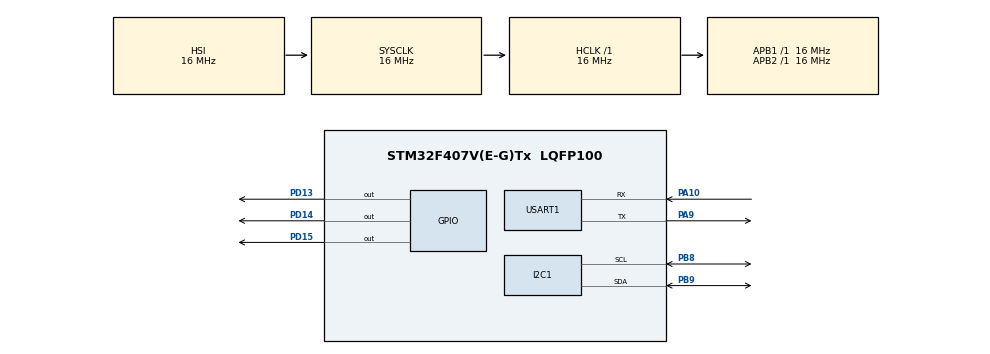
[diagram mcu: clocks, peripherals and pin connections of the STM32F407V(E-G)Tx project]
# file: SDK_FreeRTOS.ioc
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FREERTOS.Queues01=myQueue01,16,uint16_t,0,Dynamic,NULL,NULL
FREERTOS.Tasks01=Task_LED1,0,128,StartTaskLED1,Default,NULL,Dynamic,NULL,NULL;Task_UART,0,128,StartTaskUART,Default,NULL,Dynamic,NULL,NULL;Task_LED2,0,128,StartTasLED2,Default,NULL,Dynamic,NULL,NULL
FREERTOS.configENABLE_BACKWARD_COMPATIBILITY=0
FREERTOS.configGENERATE_RUN_TIME_STATS=1
FREERTOS.configUSE_STATS_FORMATTING_FUNCTIONS=1
FREERTOS.configUSE_TRACE_FACILITY=1
Mcu.Family=STM32F4
Mcu.Name=STM32F407V(E-G)Tx
Mcu.Package=LQFP100
NVIC.PriorityGroup=NVIC_PRIORITYGROUP_4
NVIC.TIM1_UP_TIM10_IRQn=true\:0\:0\:false\:false\:true\:false\:false\:true\:true
NVIC.TimeBase=TIM1_UP_TIM10_IRQn
NVIC.TimeBaseIP=TIM1
PA10.Mode=Asynchronous
PA10.Signal=USART1_RX
PA13.Mode=JTAG_5_pins
PA13.Signal=SYS_JTMS-SWDIO
PA14.Mode=JTAG_5_pins
PA14.Signal=SYS_JTCK-SWCLK
PA15.Mode=JTAG_5_pins
PA15.Signal=SYS_JTDI
PA9.Mode=Asynchronous
PA9.Signal=USART1_TX
PB3.Mode=JTAG_5_pins
PB3.Signal=SYS_JTDO-SWO
PB4.Mode=JTAG_5_pins
PB4.Signal=SYS_JTRST
PB8.Mode=I2C
PB8.Signal=I2C1_SCL
PB9.Mode=I2C
PB9.Signal=I2C1_SDA
PD13.Signal=GPIO_Output
PD14.Signal=GPIO_Output
PD15.Signal=GPIO_Output
PH0-OSC_IN.Mode=HSE-External-Oscillator
PH0-OSC_IN.Signal=RCC_OSC_IN
PH1-OSC_OUT.Mode=HSE-External-Oscillator
PH1-OSC_OUT.Signal=RCC_OSC_OUT
ProjectManager.HeapSize=0x200
ProjectManager.StackSize=0x400
ProjectManager.TargetToolchain=STM32CubeIDE
RCC.AHBFreq_Value=16000000
RCC.APB1Freq_Value=16000000
RCC.APB2Freq_Value=16000000
RCC.CortexFreq_Value=16000000
RCC.HSE_VALUE=25000000
RCC.HSI_VALUE=16000000
RCC.LSE_VALUE=32768
RCC.SYSCLKFreq_VALUE=16000000
RCC.VCOOutputFreq_Value=192000000
USART1.VirtualMode=VM_ASYNC
VP_FREERTOS_VS_CMSIS_V1.Mode=CMSIS_V1
VP_SYS_VS_tim1.Mode=TIM1
board=custom

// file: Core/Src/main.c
/* USER CODE BEGIN Header */
/**
  ******************************************************************************
  * @file           : main.c
  * @brief          : Main program body
  ******************************************************************************
  * This notice applies to any and all portions of this file
  * that are not between comment pairs USER CODE BEGIN and
  * USER CODE END. Other portions of this file, whether
  * inserted by the user or by software development tools
  * are owned by their respective copyright owners.
  *
  * Copyright (c) 2019 STMicroelectronics International N.V.
  * All rights reserved.
  *
  * Redistribution and use in source and binary forms, with or without
  * modification, are permitted, provided that the following conditions are met:
  *
  * 1. Redistribution of source code must retain the above copyright notice,
  *    this list of conditions and the following disclaimer.
  * 2. Redistributions in binary form must reproduce the above copyright notice,
  *    this list of conditions and the following disclaimer in the documentation
  *    and/or other materials provided with the distribution.
  * 3. Neither the name of STMicroelectronics nor the names of other
  *    contributors to this software may be used to endorse or promote products
  *    derived from this software without specific written permission.
  * 4. This software, including modifications and/or derivative works of this
  *    software, must execute solely and exclusively on microcontroller or
  *    microprocessor devices manufactured by or for STMicroelectronics.
  * 5. Redistribution and use of this software other than as permitted under
  *    this license is void and will automatically terminate your rights under
  *    this license.
  *
  * THIS SOFTWARE IS PROVIDED BY STMICROELECTRONICS AND CONTRIBUTORS "AS IS"
  * AND ANY EXPRESS, IMPLIED OR STATUTORY WARRANTIES, INCLUDING, BUT NOT
  * LIMITED TO, THE IMPLIED WARRANTIES OF MERCHANTABILITY, FITNESS FOR A
  * PARTICULAR PURPOSE AND NON-INFRINGEMENT OF THIRD PARTY INTELLECTUAL PROPERTY
  * RIGHTS ARE DISCLAIMED TO THE FULLEST EXTENT PERMITTED BY LAW. IN NO EVENT
  * SHALL STMICROELECTRONICS OR CONTRIBUTORS BE LIABLE FOR ANY DIRECT, INDIRECT,
  * INCIDENTAL, SPECIAL, EXEMPLARY, OR CONSEQUENTIAL DAMAGES (INCLUDING, BUT NOT
  * LIMITED TO, PROCUREMENT OF SUBSTITUTE GOODS OR SERVICES; LOSS OF USE, DATA,
  * OR PROFITS; OR BUSINESS INTERRUPTION) HOWEVER CAUSED AND ON ANY THEORY OF
  * LIABILITY, WHETHER IN CONTRACT, STRICT LIABILITY, OR TORT (INCLUDING
  * NEGLIGENCE OR OTHERWISE) ARISING IN ANY WAY OUT OF THE USE OF THIS SOFTWARE,
  * EVEN IF ADVISED OF THE POSSIBILITY OF SUCH DAMAGE.
  *
  ******************************************************************************
  */
/* USER CODE END Header */
#include "main.h"
#include "cmsis_os.h"
#include "i2c.h"
#include "usart.h"
#include "gpio.h"

/* USER CODE BEGIN Includes */
#include "controller.h"
#include "game.h"
#include "handlers.h"
/* USER CODE END Includes */

void SystemClock_Config(void);
void MX_FREERTOS_Init(void);
/* USER CODE BEGIN PFP */
int initSnakeGame(void);

/* USER CODE END PFP */

int main(void)
{

  /* MCU Configuration--------------------------------------------------------*/

  /* Reset of all peripherals, Initializes the Flash interface and the Systick. */
  HAL_Init();

  /* Configure the system clock */
  SystemClock_Config();

  /* Initialize all configured peripherals */
  MX_GPIO_Init();
  MX_USART1_UART_Init();
  MX_I2C1_Init();
  /* USER CODE BEGIN 2 */

  initSnakeGame();
  /* USER CODE END 2 */

  /* Call init function for freertos objects (in freertos.c) */
  MX_FREERTOS_Init();

  /* Start scheduler */
  osKernelStart();
  /* We should never get here as control is now taken by the scheduler */
  /* Infinite loop */
  while (1)
  {

  }
}

void SystemClock_Config(void)
{
  RCC_OscInitTypeDef RCC_OscInitStruct = {0};
  RCC_ClkInitTypeDef RCC_ClkInitStruct = {0};

  /** Configure the main internal regulator output voltage
  */
  __HAL_RCC_PWR_CLK_ENABLE();
  __HAL_PWR_VOLTAGESCALING_CONFIG(PWR_REGULATOR_VOLTAGE_SCALE1);

  /** Initializes the RCC Oscillators according to the specified parameters
  * in the RCC_OscInitTypeDef structure.
  */
  RCC_OscInitStruct.OscillatorType = RCC_OSCILLATORTYPE_HSI;
  RCC_OscInitStruct.HSIState = RCC_HSI_ON;
  RCC_OscInitStruct.HSICalibrationValue = RCC_HSICALIBRATION_DEFAULT;
  RCC_OscInitStruct.PLL.PLLState = RCC_PLL_NONE;
  if (HAL_RCC_OscConfig(&RCC_OscInitStruct) != HAL_OK)
  {
    Error_Handler();
  }

  /** Initializes the CPU, AHB and APB buses clocks
  */
  RCC_ClkInitStruct.ClockType = RCC_CLOCKTYPE_HCLK|RCC_CLOCKTYPE_SYSCLK
                              |RCC_CLOCKTYPE_PCLK1|RCC_CLOCKTYPE_PCLK2;
  RCC_ClkInitStruct.SYSCLKSource = RCC_SYSCLKSOURCE_HSI;
  RCC_ClkInitStruct.AHBCLKDivider = RCC_SYSCLK_DIV1;
  RCC_ClkInitStruct.APB1CLKDivider = RCC_HCLK_DIV1;
  RCC_ClkInitStruct.APB2CLKDivider = RCC_HCLK_DIV1;

  if (HAL_RCC_ClockConfig(&RCC_ClkInitStruct, FLASH_LATENCY_0) != HAL_OK)
  {
    Error_Handler();
  }
}

/* USER CODE BEGIN 4 */
int initSnakeGame(void) {
    initController();

    // init button handlers
    struct HandlerInfo btnUp = {buttonPressHandler, {.direction = DIR_UP}};
    struct HandlerInfo btnDown = {buttonPressHandler, {.direction = DIR_DOWN}};
    struct HandlerInfo btnLeft = {buttonPressHandler, {.direction = DIR_LEFT}};
    struct HandlerInfo btnRight = {buttonPressHandler,
                                   {.direction = DIR_RIGHT}};
    struct HandlerInfo btnCenter = {buttonPressHandler,
                                    {.direction = DIR_CENTER}};

    setHandler(BUTTON_UP, btnUp);
    setHandler(BUTTON_DOWN, btnDown);
    setHandler(BUTTON_LEFT, btnLeft);
    setHandler(BUTTON_RIGHT, btnRight);
    setHandler(BUTTON_CENTER, btnCenter);

    // start listening in a new thread
    // struct cthreads_thread thread1;
    // struct cthreads_args thread1Args;
    // cthreads_thread_create(&thread1, NULL, listenerThread, NULL, &thread1Args);

    // // run the game in the current thread
    // startGame();

    // cthreads_thread_join(thread1, NULL);

    return 0;
}
/* USER CODE END 4 */

void HAL_TIM_PeriodElapsedCallback(TIM_HandleTypeDef *htim)
{
  if (htim->Instance == TIM1) {
    HAL_IncTick();
  }
}

void Error_Handler(void)
{
}

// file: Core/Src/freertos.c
/* USER CODE BEGIN Header */
/**
  ******************************************************************************
  * File Name          : freertos.c
  * Description        : Code for freertos applications
  ******************************************************************************
  * This notice applies to any and all portions of this file
  * that are not between comment pairs USER CODE BEGIN and
  * USER CODE END. Other portions of this file, whether
  * inserted by the user or by software development tools
  * are owned by their respective copyright owners.
  *
  * Copyright (c) 2019 STMicroelectronics International N.V.
  * All rights reserved.
  *
  * Redistribution and use in source and binary forms, with or without
  * modification, are permitted, provided that the following conditions are met:
  *
  * 1. Redistribution of source code must retain the above copyright notice,
  *    this list of conditions and the following disclaimer.
  * 2. Redistributions in binary form must reproduce the above copyright notice,
  *    this list of conditions and the following disclaimer in the documentation
  *    and/or other materials provided with the distribution.
  * 3. Neither the name of STMicroelectronics nor the names of other
  *    contributors to this software may be used to endorse or promote products
  *    derived from this software without specific written permission.
  * 4. This software, including modifications and/or derivative works of this
  *    software, must execute solely and exclusively on microcontroller or
  *    microprocessor devices manufactured by or for STMicroelectronics.
  * 5. Redistribution and use of this software other than as permitted under
  *    this license is void and will automatically terminate your rights under
  *    this license.
  *
  * THIS SOFTWARE IS PROVIDED BY STMICROELECTRONICS AND CONTRIBUTORS "AS IS"
  * AND ANY EXPRESS, IMPLIED OR STATUTORY WARRANTIES, INCLUDING, BUT NOT
  * LIMITED TO, THE IMPLIED WARRANTIES OF MERCHANTABILITY, FITNESS FOR A
  * PARTICULAR PURPOSE AND NON-INFRINGEMENT OF THIRD PARTY INTELLECTUAL PROPERTY
  * RIGHTS ARE DISCLAIMED TO THE FULLEST EXTENT PERMITTED BY LAW. IN NO EVENT
  * SHALL STMICROELECTRONICS OR CONTRIBUTORS BE LIABLE FOR ANY DIRECT, INDIRECT,
  * INCIDENTAL, SPECIAL, EXEMPLARY, OR CONSEQUENTIAL DAMAGES (INCLUDING, BUT NOT
  * LIMITED TO, PROCUREMENT OF SUBSTITUTE GOODS OR SERVICES; LOSS OF USE, DATA,
  * OR PROFITS; OR BUSINESS INTERRUPTION) HOWEVER CAUSED AND ON ANY THEORY OF
  * LIABILITY, WHETHER IN CONTRACT, STRICT LIABILITY, OR TORT (INCLUDING
  * NEGLIGENCE OR OTHERWISE) ARISING IN ANY WAY OUT OF THE USE OF THIS SOFTWARE,
  * EVEN IF ADVISED OF THE POSSIBILITY OF SUCH DAMAGE.
  *
  ******************************************************************************
  */
/* USER CODE END Header */

#include "FreeRTOS.h"
#include "task.h"
#include "main.h"
#include "cmsis_os.h"

/* USER CODE BEGIN Includes */
#include "usart.h"
#include <string.h>

#include "controller.h"
#include "game.h"
#include "handlers.h"
/* USER CODE END Includes */

osThreadId Task_LED1Handle;
osThreadId Task_UARTHandle;
osThreadId Task_LED2Handle;
osMessageQId myQueue01Handle;

void StartTaskLED1(void const * argument);
void StartTaskUART(void const * argument);
void StartTasLED2(void const * argument);

void MX_FREERTOS_Init(void); /* (MISRA C 2004 rule 8.1) */

/* GetIdleTaskMemory prototype (linked to static allocation support) */
void vApplicationGetIdleTaskMemory( StaticTask_t **ppxIdleTaskTCBBuffer, StackType_t **ppxIdleTaskStackBuffer, uint32_t *pulIdleTaskStackSize );

/* Hook prototypes */
void configureTimerForRunTimeStats(void);
unsigned long getRunTimeCounterValue(void);

/* USER CODE BEGIN 1 */
/* Functions needed when configGENERATE_RUN_TIME_STATS is on */
__weak void configureTimerForRunTimeStats(void)
{

}

__weak unsigned long getRunTimeCounterValue(void)
{
return 0;
}
/* USER CODE END 1 */

/* USER CODE BEGIN GET_IDLE_TASK_MEMORY */
static StaticTask_t xIdleTaskTCBBuffer;
static StackType_t xIdleStack[configMINIMAL_STACK_SIZE];

void vApplicationGetIdleTaskMemory( StaticTask_t **ppxIdleTaskTCBBuffer, StackType_t **ppxIdleTaskStackBuffer, uint32_t *pulIdleTaskStackSize )
{
  *ppxIdleTaskTCBBuffer = &xIdleTaskTCBBuffer;
  *ppxIdleTaskStackBuffer = &xIdleStack[0];
  *pulIdleTaskStackSize = configMINIMAL_STACK_SIZE;
  /* place for user code */
}
/* USER CODE END GET_IDLE_TASK_MEMORY */

void MX_FREERTOS_Init(void) {

  /* Create the queue(s) */
  /* definition and creation of myQueue01 */
  osMessageQDef(myQueue01, 16, uint16_t);
  myQueue01Handle = osMessageCreate(osMessageQ(myQueue01), NULL);

  /* Create the thread(s) */
  /* definition and creation of Task_LED1 */
  osThreadDef(Task_LED1, StartTaskLED1, osPriorityNormal, 0, 128);
  Task_LED1Handle = osThreadCreate(osThread(Task_LED1), NULL);

  /* definition and creation of Task_UART */
  osThreadDef(Task_UART, StartTaskUART, osPriorityNormal, 0, 128);
  Task_UARTHandle = osThreadCreate(osThread(Task_UART), NULL);

  /* definition and creation of Task_LED2 */
  osThreadDef(Task_LED2, StartTasLED2, osPriorityNormal, 0, 128);
  Task_LED2Handle = osThreadCreate(osThread(Task_LED2), NULL);

  /* USER CODE BEGIN RTOS_THREADS */
  vQueueAddToRegistry(myQueue01Handle, "queue1");
  /* USER CODE END RTOS_THREADS */

}

void StartTaskLED1(void const * argument)
{
  /* USER CODE BEGIN StartTaskLED1 */
  startListening();

  /* Infinite loop */
  // uint32_t state;
  // for(;;)
  // {
	//   HAL_GPIO_TogglePin(GPIOD, GPIO_PIN_15);
	//   if (HAL_GPIO_ReadPin(GPIOD,GPIO_PIN_15) == GPIO_PIN_SET) {
	// 	  state = 0x01;
	// 	  osMessagePut(myQueue01Handle, state, 100);
	//   } else {
	// 	  state = 0x00;
	// 	  osMessagePut(myQueue01Handle, state, 100);
	//   }
	//   osDelay(500);
  // }
  /* USER CODE END StartTaskLED1 */
}

void StartTaskUART(void const * argument)
{
  /* USER CODE BEGIN StartTaskUART */
//   /* Infinite loop */
// 	osEvent event;
// 	char *state;
// 	for(;;)
// 	  {
// 		event = osMessageGet(myQueue01Handle, 100);
// 		if (event.status == osEventMessage) {
// 			state = event.value.v == 0x00 ? "reset\n\r" : "set\n\r";
// 			HAL_UART_Transmit(&huart1, (uint8_t *)state, strlen(state), 100);
// 		}
// 		osDelay(1);
// 	  }
  /* USER CODE END StartTaskUART */
}

void StartTasLED2(void const * argument)
{
  /* USER CODE BEGIN StartTasLED2 */
  startGame();
  /* Infinite loop */
  // for(;;)
  // {
	//   HAL_GPIO_TogglePin(GPIOD, GPIO_PIN_13);
	//   osDelay(400);
  // }
  /* USER CODE END StartTasLED2 */
}
